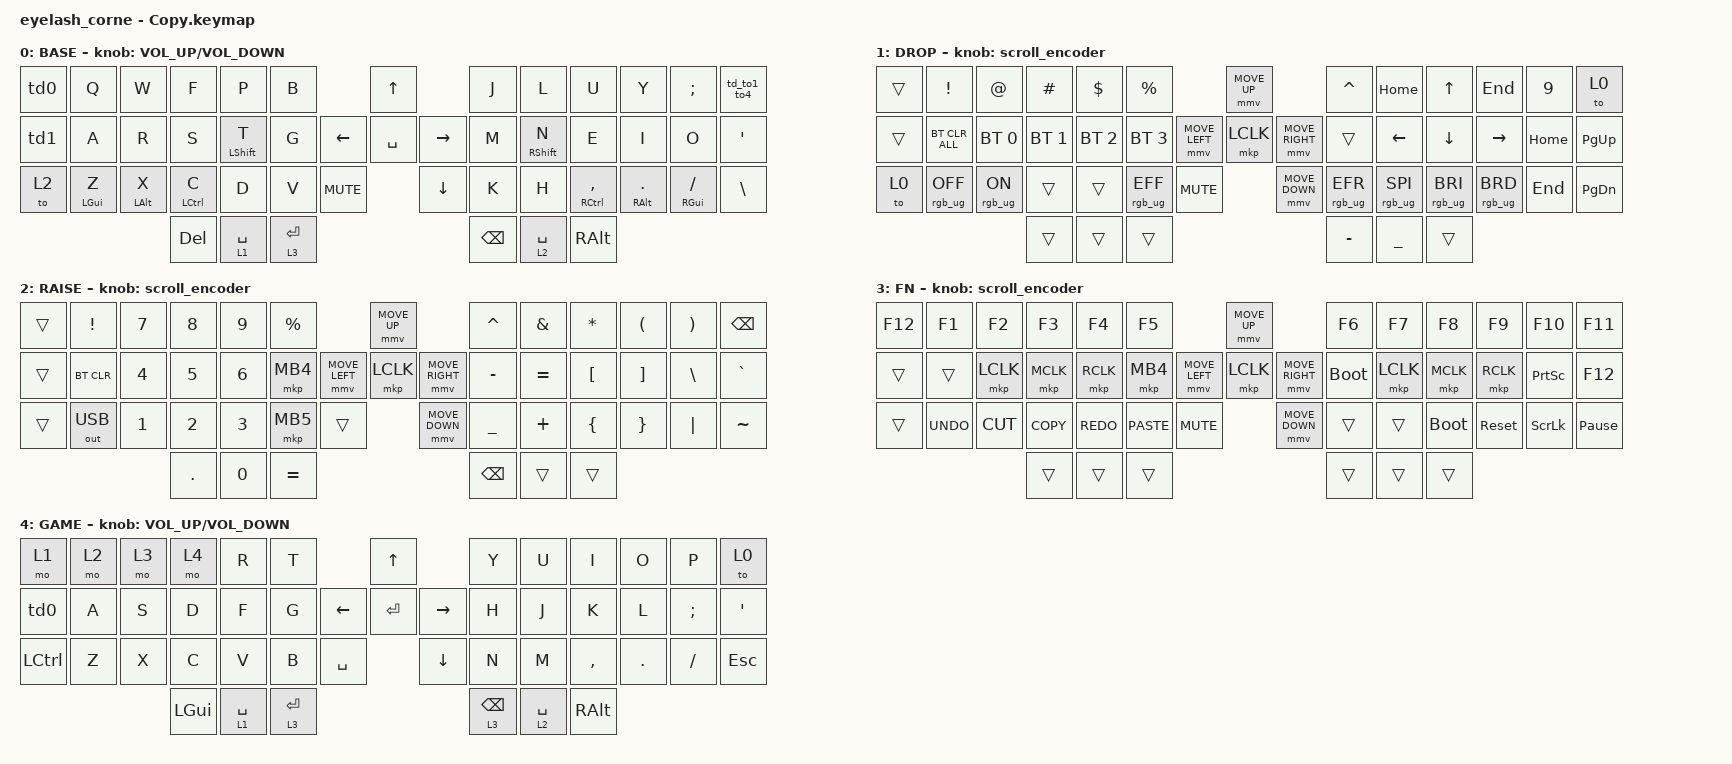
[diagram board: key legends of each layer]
#define ZMK_POINTING_DEFAULT_MOVE_VAL 1200  // 600
#define ZMK_POINTING_DEFAULT_SCRL_VAL 25   // 10

#include <input/processors.dtsi>
#include <zephyr/dt-bindings/input/input-event-codes.h>
#include <behaviors.dtsi>
#include <dt-bindings/zmk/bt.h>
#include <dt-bindings/zmk/keys.h>
#include <dt-bindings/zmk/outputs.h>
#include <dt-bindings/zmk/pointing.h>
#include <dt-bindings/zmk/rgb.h>

&mmv_input_listener { input-processors = <&zip_xy_scaler 2 1>; };

&msc_input_listener { input-processors = <&zip_scroll_scaler 2 1>; };

&msc {
    acceleration-exponent = <1>;      // 0
    time-to-max-speed-ms = <100>;       // 300
    delay-ms = <0>;                   // 0
};

&mmv {
    time-to-max-speed-ms = <500>;
    acceleration-exponent = <1>;
    trigger-period-ms = <16>;
};

/ {
    behaviors {
        td0: td0 {
            compatible = "zmk,behavior-tap-dance";
            display-name = "scap/tild Tap Dance";
            #binding-cells = <0>;
            bindings = <&kp GRAVE>, <&kp ESC>;
        };

        td1: td1 {
            compatible = "zmk,behavior-tap-dance";
            display-name = "Tab/Caps Lock Tap Dance";
            #binding-cells = <0>;
            bindings = <&kp TAB>, <&kp CAPS>;
        };

        td_to1_to4: td_to1_to4 {
            compatible = "zmk,behavior-tap-dance";
            display-name = "Toggle layer 1/4 Tap Dance";
            #binding-cells = <0>;
            bindings = <&to 1>, <&to 4>;
        };
    };

    rgb_encoder: rgb_encoder {
        compatible = "zmk,behavior-sensor-rotate";
        #sensor-binding-cells = <0>;
        bindings = <&rgb_ug RGB_BRI>, <&rgb_ug RGB_BRD>;
    };

    scroll_encoder: scroll_encoder {
        compatible = "zmk,behavior-sensor-rotate";
        #sensor-binding-cells = <0>;
        bindings = <&msc SCRL_DOWN>, <&msc SCRL_UP>;

        tap-ms = <100>;
    };

    keymap {
        compatible = "zmk,keymap";

        default_layer {
            display-name = "BASE";
            bindings = <
&td0    &kp Q           &kp W       &kp F       &kp P           &kp B                               &kp UP                  &kp J       &kp L           &kp U           &kp Y           &kp SEMI        &td_to1_to4
&td1    &kp A           &kp R       &kp S       &mt LSHIFT T    &kp G                   &kp LEFT    &kp SPACE  &kp RIGHT    &kp M       &mt RSHIFT N    &kp E           &kp I           &kp O           &kp SQT
&to 2   &mt LEFT_GUI Z  &mt LALT X  &mt LCTRL C &kp D           &kp V       &kp C_MUTE              &kp DOWN                &kp K       &kp H           &mt RCTRL COMMA &mt RALT DOT    &mt RGUI FSLH   &kp BSLH
                                    &kp DEL     &lt 1 SPACE     &lt 3 ENTER                                                 &kp BSPC    &lt 2 SPACE     &kp RALT
            >;
            sensor-bindings = <&inc_dec_kp C_VOLUME_UP C_VOLUME_DOWN>;
        };

        lower_layer {
            display-name = "DROP";
            bindings = <
&trans  &kp EXCLAMATION  &kp AT_SIGN        &kp HASH        &kp DOLLAR    &kp PERCENT                                    &mmv MOVE_UP                       &kp CARET       &kp HOME        &kp UP             &kp END         &kp N9    &to 0
&trans  &bt BT_CLR_ALL   &bt BT_SEL 0       &bt BT_SEL 1    &bt BT_SEL 2  &bt BT_SEL 3                   &mmv MOVE_LEFT  &mkp LCLK       &mmv MOVE_RIGHT    &trans          &kp LEFT        &kp DOWN           &kp RIGHT       &kp HOME  &kp PG_UP
&to 0   &rgb_ug RGB_OFF  &rgb_ug RGB_ON     &trans          &trans        &rgb_ug RGB_EFF  &kp C_MUTE                    &mmv MOVE_DOWN                     &rgb_ug RGB_EFR &rgb_ug RGB_SPI &rgb_ug RGB_BRI    &rgb_ug RGB_BRD &kp END   &kp PG_DN
                                            &trans          &trans        &trans                                                                            &kp MINUS       &kp UNDERSCORE  &trans
            >;
            sensor-bindings = <&scroll_encoder>;
        };

        raise_layer {
            display-name = "RAISE";
            bindings = <
&trans  &kp EXCL        &kp N7  &kp N8  &kp N9  &kp PRCNT                            &mmv MOVE_UP                     &kp CARET  &kp AMPS   &kp ASTRK  &kp LPAR  &kp RPAR  &kp BSPC
&trans  &bt BT_CLR      &kp N4  &kp N5  &kp N6  &mkp MB4             &mmv MOVE_LEFT  &mkp LCLK       &mmv MOVE_RIGHT  &kp MINUS  &kp EQUAL  &kp LBKT   &kp RBKT  &kp BSLH  &kp GRAVE
&trans  &out OUT_USB    &kp N1  &kp N2  &kp N3  &mkp MB5   &trans                    &mmv MOVE_DOWN                   &kp UNDER  &kp PLUS   &kp LBRC   &kp RBRC  &kp PIPE  &kp TILDE
                                &kp DOT &kp N0  &kp EQUAL                                                             &kp BSPC   &trans     &trans
            >;
            sensor-bindings = <&scroll_encoder>;
        };

        layer_3 {
            display-name = "FN";
            bindings = <
&kp F12     &kp F1          &kp F2      &kp F3      &kp F4      &kp F5                                  &mmv MOVE_UP                     &kp F6       &kp F7     &kp F8       &kp F9      &kp F10          &kp F11
&trans      &trans          &mkp LCLK   &mkp MCLK   &mkp RCLK   &mkp MB4                &mmv MOVE_LEFT  &mkp LCLK       &mmv MOVE_RIGHT  &bootloader  &mkp LCLK  &mkp MCLK    &mkp RCLK   &kp PRINTSCREEN  &kp F12
&trans      &kp K_UNDO      &kp K_CUT   &kp K_COPY  &kp K_REDO  &kp K_PASTE  &kp C_MUTE                 &mmv MOVE_DOWN                   &trans       &trans     &bootloader  &sys_reset  &kp SCROLLLOCK   &kp PAUSE_BREAK
                                        &trans      &trans      &trans                                                                   &trans       &trans     &trans
            >;
            sensor-bindings = <&scroll_encoder>;
        };

        layer_4 {
            display-name = "GAME";
            bindings = <
&mo 1       &mo 2       &mo 3       &mo 4       &kp R       &kp T                                   &kp UP                  &kp Y       &kp U       &kp I       &kp O       &kp P       &to 0
&td0        &kp A       &kp S       &kp D       &kp F       &kp G                        &kp LEFT   &kp ENTER  &kp RIGHT    &kp H       &kp J       &kp K       &kp L       &kp SEMI    &kp SQT
&kp LCTRL   &kp Z       &kp X       &kp C       &kp V       &kp B       &kp SPACE                   &kp DOWN                &kp N       &kp M       &kp COMMA   &kp DOT     &kp FSLH    &kp ESC
                                                    &kp LGUI    &lt 1 SPACE &lt 3 ENTER                                                     &lt 3 BSPC  &lt 2 SPACE &kp RALT
            >;
            sensor-bindings = <&inc_dec_kp C_VOLUME_UP C_VOLUME_DOWN>;
        };
        
    };
};
